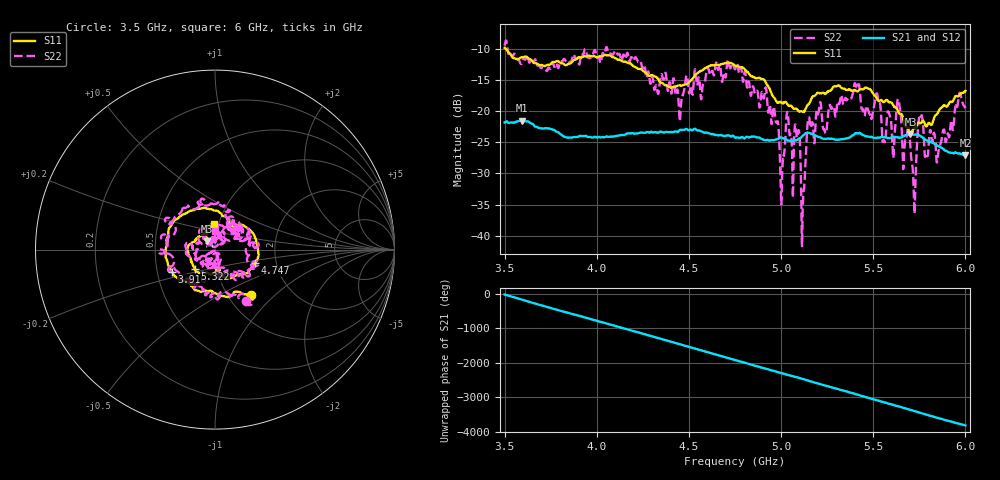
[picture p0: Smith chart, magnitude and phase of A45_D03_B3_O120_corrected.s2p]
! Created with skrf 1.9.0 (http://scikit-rf.org).
# Hz S RI R 50.0
!freq ReS11 ImS11 ReS21 ImS21 ReS12 ImS12 ReS22 ImS22
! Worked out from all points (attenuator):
!   1601 points, 3.5 GHz to 6 GHz, reference 50 ohm
!   highest |S21| = -21.52 dB at 3.592 GHz (marker M1); lowest = -27.1 dB at 6 GHz (marker M2)
!   lowest |S11| = -23.7 dB at 5.702 GHz (marker M3), VSWR 1.14, Z = 45.5 + j4.32 ohm
!   |S11| at or under -10 dB: 3.505 GHz to end of sweep
!   |S22| runs from -41.7 to -8.7 dB; largest |S21 - S12| = 0.00099
!   S11 on the Smith chart (normalised r, x): 3.5 GHz: 1.27, -0.71; 3.916 GHz: 0.60, -0.16; 4.747 GHz: 1.54, -0.25; 5.322 GHz: 0.78, -0.17; 6 GHz: 0.94, +0.28
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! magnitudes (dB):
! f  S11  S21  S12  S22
! 3.5 GHz  -9.9  -21.8  -21.8  -9.5
! 3.592 GHz  -11.4  -21.5  -21.5  -12.4
! 3.916 GHz  -11.4  -24.0  -24.0  -11.0
! 3.917 GHz  -11.4  -24.0  -24.0  -10.9
! 4.334 GHz  -15.0  -23.5  -23.4  -17.2
! 4.455 GHz  -15.9  -23.0  -23.0  -20.3
! 4.747 GHz  -12.6  -24.2  -24.1  -13.2
! 4.75 GHz  -12.7  -24.3  -24.2  -13.3
! 4.969 GHz  -18.1  -24.6  -24.5  -21.3
! 5.005 GHz  -18.6  -24.2  -24.3  -30.9
! 5.033 GHz  -18.9  -24.7  -24.6  -20.2
! 5.088 GHz  -19.7  -24.6  -24.6  -24.2
! 5.119 GHz  -20.1  -23.9  -23.9  -34.5
! 5.145 GHz  -19.0  -23.5  -23.4  -21.7
! 5.167 GHz  -17.9  -23.7  -23.6  -21.9
! 5.322 GHz  -16.1  -24.5  -24.5  -18.0
! 5.584 GHz  -18.6  -24.3  -24.3  -20.1
! 5.702 GHz  -23.7  -23.8  -23.8  -25.8
! 5.72 GHz  -22.7  -23.8  -23.7  -33.2
! 5.756 GHz  -22.0  -24.0  -24.0  -20.9
! 5.852 GHz  -20.2  -25.6  -25.5  -27.1
! 6 GHz  -16.8  -27.1  -27.0  -19.6
